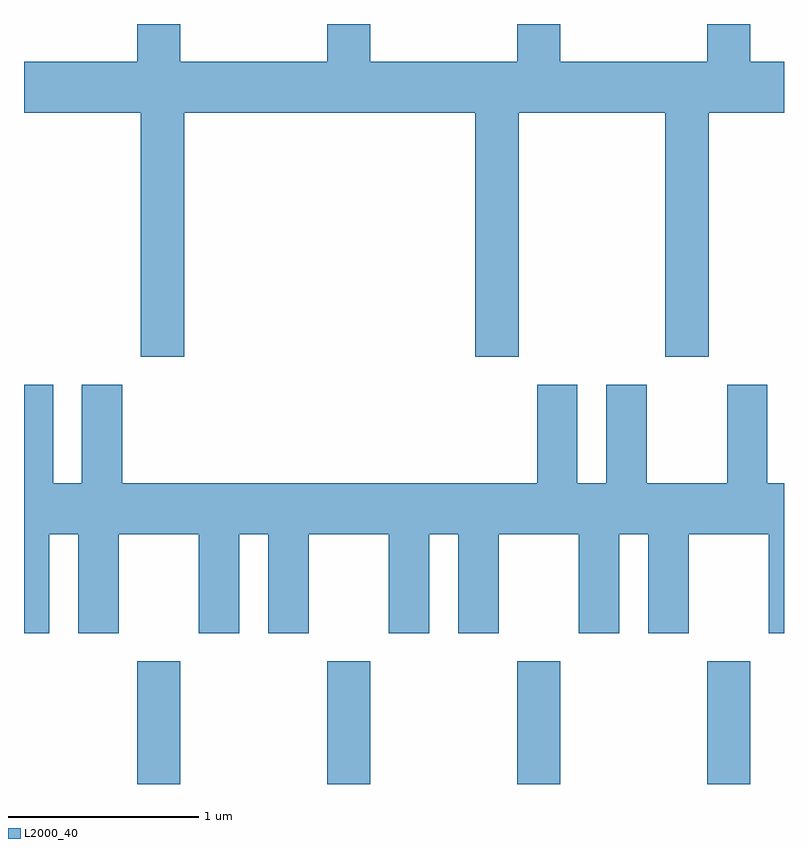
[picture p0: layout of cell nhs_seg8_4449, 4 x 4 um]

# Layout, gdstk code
import gdstk
lib = gdstk.Library(unit=1e-6, precision=1e-09)
def R(c, l, rs):  # rectangles x0, y0, x1, y1
    for r in rs: c.add(gdstk.rectangle(r[:2], r[2:], *l))
def A(c, l, x, y, w, h, nx, ny, dx, dy):  # array of equal rectangles
    R(c, l, [(x+i*dx, y+j*dy, x+i*dx+w, y+j*dy+h) for i in range(nx) for j in range(ny)])
def P(c, l, *ps):  # polygons
    for p in ps: c.add(gdstk.Polygon(p, *l))
L2000_40 = (2000, 40)

nhs_seg8_4449 = lib.new_cell('nhs_seg8_4449')
A(nhs_seg8_4449, L2000_40, 318.206, 1928.342, 0.228, 0.647, 4, 1, 1, 0)
P(nhs_seg8_4449, L2000_40, [(318.454,1931.876),(319.986,1931.876),(319.986,1930.591),(320.214,1930.591),(320.214,1931.876),(320.986,1931.876),(320.986,1930.591),(321.214,1930.591),(321.214,1931.876),(321.611,1931.876),(321.611,1932.144),(321.434,1932.144),(321.434,1932.342),(321.206,1932.342),(321.206,1932.144),(320.434,1932.144),(320.434,1932.342),(320.206,1932.342),(320.206,1932.144),(319.434,1932.144),(319.434,1932.342),(319.206,1932.342),(319.206,1932.144),(318.434,1932.144),(318.434,1932.342),(318.206,1932.342),(318.206,1932.144),(317.611,1932.144),(317.611,1931.876),(318.226,1931.876),(318.226,1930.591),(318.454,1930.591)],
  [(317.744,1929.656),(317.896,1929.656),(317.896,1929.136),(318.109,1929.136),(318.109,1929.656),(318.531,1929.656),(318.531,1929.136),(318.744,1929.136),(318.744,1929.656),(318.896,1929.656),(318.896,1929.136),(319.109,1929.136),(319.109,1929.656),(319.531,1929.656),(319.531,1929.136),(319.744,1929.136),(319.744,1929.656),(319.896,1929.656),(319.896,1929.136),(320.109,1929.136),(320.109,1929.656),(320.531,1929.656),(320.531,1929.136),(320.744,1929.136),(320.744,1929.656),(320.896,1929.656),(320.896,1929.136),(321.109,1929.136),(321.109,1929.656),(321.531,1929.656),(321.531,1929.136),(321.611,1929.136),(321.611,1929.924),(321.524,1929.924),(321.524,1930.444),(321.311,1930.444),(321.311,1929.924),(320.889,1929.924),(320.889,1930.444),(320.676,1930.444),(320.676,1929.924),(320.524,1929.924),(320.524,1930.444),(320.311,1930.444),(320.311,1929.924),(318.129,1929.924),(318.129,1930.444),(317.916,1930.444),(317.916,1929.924),(317.764,1929.924),(317.764,1930.444),(317.611,1930.444),(317.611,1929.136),(317.744,1929.136)])

lib.write_gds('nhs_seg8_4449.gds')
